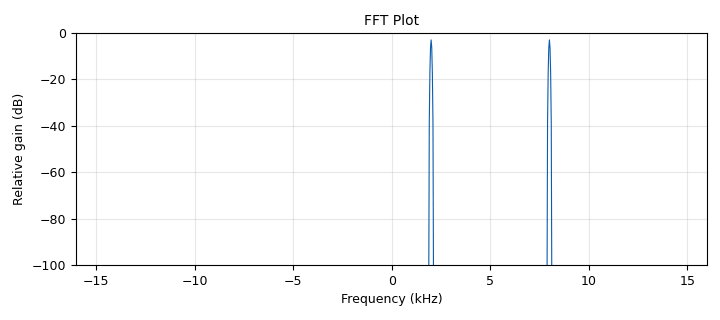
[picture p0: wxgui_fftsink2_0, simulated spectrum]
<?xml version='1.0' encoding='utf-8'?>
<?grc format='1' created='3.7.5'?>
<flow_graph>
<block>
<key>options</key>
<param><key>id</key><value>top_block</value></param>
<param><key>generate_options</key><value>wx_gui</value></param>
<param><key>category</key><value>Custom</value></param>
</block>
<block>
<key>variable</key>
<param><key>id</key><value>N</value></param>
<param><key>value</key><value>14</value></param>
</block>
<block>
<key>variable</key>
<param><key>id</key><value>length</value></param>
<param><key>value</key><value>200</value></param>
</block>
<block>
<key>variable</key>
<param><key>id</key><value>samp_rate</value></param>
<param><key>value</key><value>32e3</value></param>
</block>
<block>
<key>blocks_add_xx</key>
<param><key>id</key><value>blocks_add_xx_0</value></param>
<param><key>type</key><value>complex</value></param>
</block>
<block>
<key>variable_slider</key>
<param><key>id</key><value>cos_freq</value></param>
<param><key>label</key><value></value></param>
<param><key>value</key><value>samp_rate/4</value></param>
<param><key>min</key><value>0</value></param>
<param><key>max</key><value>samp_rate/2</value></param>
<param><key>num_steps</key><value>100</value></param>
<param><key>style</key><value>wx.SL_HORIZONTAL</value></param>
<param><key>converver</key><value>float_converter</value></param>
</block>
<block>
<key>analog_sig_source_x</key>
<param><key>id</key><value>analog_sig_source_x_0</value></param>
<param><key>type</key><value>complex</value></param>
<param><key>samp_rate</key><value>samp_rate</value></param>
<param><key>waveform</key><value>analog.GR_COS_WAVE</value></param>
<param><key>freq</key><value>2e3</value></param>
<param><key>amp</key><value>1</value></param>
<param><key>offset</key><value>0</value></param>
</block>
<block>
<key>analog_sig_source_x</key>
<param><key>id</key><value>analog_sig_source_x_1</value></param>
<param><key>type</key><value>complex</value></param>
<param><key>samp_rate</key><value>samp_rate</value></param>
<param><key>waveform</key><value>analog.GR_COS_WAVE</value></param>
<param><key>freq</key><value>cos_freq</value></param>
<param><key>amp</key><value>1</value></param>
<param><key>offset</key><value>0</value></param>
</block>
<block>
<key>cogradio_mc_sampling</key>
<param><key>id</key><value>cogradio_mc_sampling_0</value></param>
<param><key>chunk_size</key><value>length</value></param>
<param><key>n</key><value>N</value></param>
</block>
<block>
<key>blocks_stream_to_vector</key>
<param><key>id</key><value>blocks_stream_to_vector_0</value></param>
<param><key>type</key><value>complex</value></param>
<param><key>num_items</key><value>length</value></param>
</block>
<block>
<key>cogradio_mc_crosscorr</key>
<param><key>id</key><value>cogradio_mc_crosscorr_0</value></param>
<param><key>chunk_size</key><value>length</value></param>
<param><key>n</key><value>N</value></param>
</block>
<block>
<key>cogradio_PSD</key>
<param><key>id</key><value>cogradio_PSD_0</value></param>
<param><key>samp_rate</key><value>samp_rate</value></param>
<param><key>length</key><value>int(N * (2 * int(length / N) -1))</value></param>
<param><key>frequency</key><value>10</value></param>
</block>
<block>
<key>wxgui_fftsink2</key>
<param><key>id</key><value>wxgui_fftsink2_0</value></param>
<param><key>type</key><value>complex</value></param>
<param><key>title</key><value>FFT Plot</value></param>
<param><key>samp_rate</key><value>samp_rate</value></param>
<param><key>baseband_freq</key><value>0</value></param>
<param><key>y_per_div</key><value>10</value></param>
<param><key>y_divs</key><value>10</value></param>
<param><key>ref_level</key><value>0</value></param>
<param><key>ref_scale</key><value>2.0</value></param>
<param><key>fft_size</key><value>1024</value></param>
<param><key>fft_rate</key><value>15</value></param>
<param><key>peak_hold</key><value>False</value></param>
<param><key>average</key><value>False</value></param>
<param><key>avg_alpha</key><value>0</value></param>
<param><key>win</key><value>None</value></param>
<param><key>freqvar</key><value>None</value></param>
</block>
<connection><source_block_id>analog_sig_source_x_0</source_block_id><sink_block_id>blocks_add_xx_0</sink_block_id><source_key>0</source_key><sink_key>0</sink_key></connection>
<connection><source_block_id>analog_sig_source_x_1</source_block_id><sink_block_id>blocks_add_xx_0</sink_block_id><source_key>0</source_key><sink_key>1</sink_key></connection>
<connection><source_block_id>blocks_add_xx_0</source_block_id><sink_block_id>blocks_stream_to_vector_0</sink_block_id><source_key>0</source_key><sink_key>0</sink_key></connection>
<connection><source_block_id>blocks_add_xx_0</source_block_id><sink_block_id>wxgui_fftsink2_0</sink_block_id><source_key>0</source_key><sink_key>0</sink_key></connection>
<connection><source_block_id>blocks_stream_to_vector_0</source_block_id><sink_block_id>cogradio_mc_sampling_0</sink_block_id><source_key>0</source_key><sink_key>0</sink_key></connection>
<connection><source_block_id>cogradio_mc_crosscorr_0</source_block_id><sink_block_id>cogradio_PSD_0</sink_block_id><source_key>0</source_key><sink_key>0</sink_key></connection>
<connection><source_block_id>cogradio_mc_sampling_0</source_block_id><sink_block_id>cogradio_mc_crosscorr_0</sink_block_id><source_key>0</source_key><sink_key>0</sink_key></connection>
</flow_graph>
